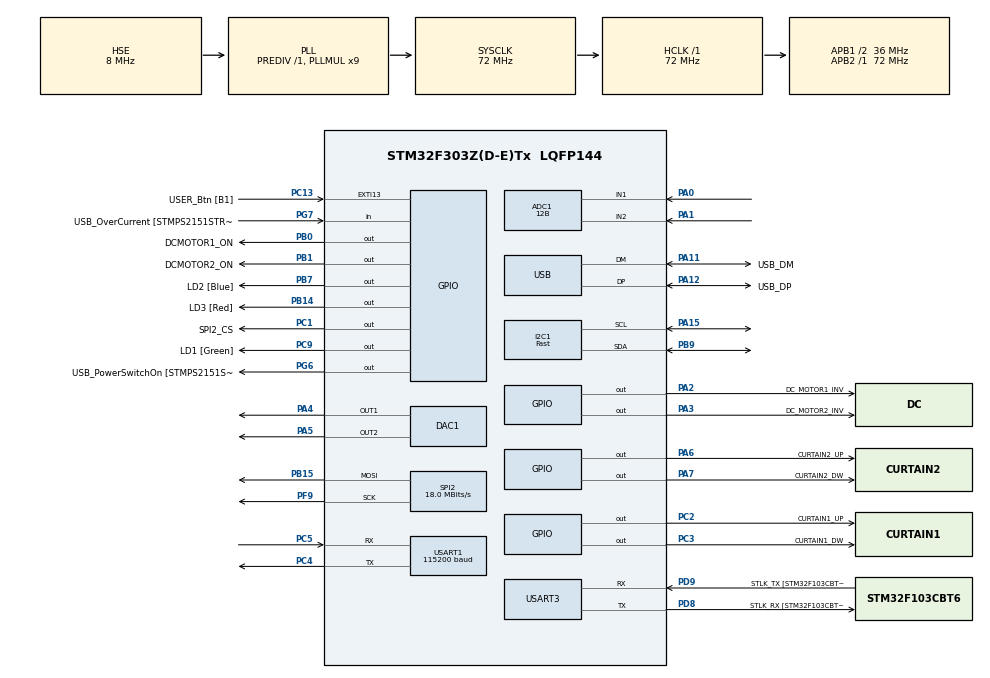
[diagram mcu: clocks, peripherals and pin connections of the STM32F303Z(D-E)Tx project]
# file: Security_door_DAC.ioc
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ADC1.Channel-0\#ChannelRegularConversion=ADC_CHANNEL_1
ADC1.Channel-1\#ChannelRegularConversion=ADC_CHANNEL_2
ADC1.ClockPrescaler=ADC_CLOCK_SYNC_PCLK_DIV2
ADC1.ContinuousConvMode=ENABLE
ADC1.DMAContinuousRequests=ENABLE
ADC1.DataAlign=ADC_DATAALIGN_RIGHT
ADC1.EOCSelection=ADC_EOC_SINGLE_CONV
ADC1.EnableInjectedConversion=DISABLE
ADC1.NbrOfConversion=2
ADC1.NbrOfConversionFlag=1
ADC1.Offset-0\#ChannelRegularConversion=0
ADC1.Offset-1\#ChannelRegularConversion=0
ADC1.OffsetNumber-0\#ChannelRegularConversion=ADC_OFFSET_NONE
ADC1.OffsetNumber-1\#ChannelRegularConversion=ADC_OFFSET_NONE
ADC1.Rank-0\#ChannelRegularConversion=1
ADC1.Rank-1\#ChannelRegularConversion=2
ADC1.Resolution=ADC_RESOLUTION_12B
ADC1.SamplingTime-0\#ChannelRegularConversion=ADC_SAMPLETIME_181CYCLES_5
ADC1.SamplingTime-1\#ChannelRegularConversion=ADC_SAMPLETIME_181CYCLES_5
ADC1.master=1
Dma.ADC1.2.Direction=DMA_PERIPH_TO_MEMORY
Dma.ADC1.2.Instance=DMA1_Channel1
Dma.ADC1.2.MemDataAlignment=DMA_MDATAALIGN_HALFWORD
Dma.ADC1.2.MemInc=DMA_MINC_ENABLE
Dma.ADC1.2.Mode=DMA_CIRCULAR
Dma.ADC1.2.PeriphDataAlignment=DMA_PDATAALIGN_HALFWORD
Dma.ADC1.2.PeriphInc=DMA_PINC_DISABLE
Dma.ADC1.2.Priority=DMA_PRIORITY_LOW
Dma.Request0=USART1_RX
Dma.Request1=USART1_TX
Dma.Request2=ADC1
Dma.USART1_RX.0.Direction=DMA_PERIPH_TO_MEMORY
Dma.USART1_RX.0.Instance=DMA1_Channel5
Dma.USART1_RX.0.MemDataAlignment=DMA_MDATAALIGN_BYTE
Dma.USART1_RX.0.MemInc=DMA_MINC_ENABLE
Dma.USART1_RX.0.Mode=DMA_NORMAL
Dma.USART1_RX.0.PeriphDataAlignment=DMA_PDATAALIGN_BYTE
Dma.USART1_RX.0.PeriphInc=DMA_PINC_DISABLE
Dma.USART1_RX.0.Priority=DMA_PRIORITY_LOW
Dma.USART1_TX.1.Direction=DMA_MEMORY_TO_PERIPH
Dma.USART1_TX.1.Instance=DMA1_Channel4
Dma.USART1_TX.1.MemDataAlignment=DMA_MDATAALIGN_BYTE
Dma.USART1_TX.1.MemInc=DMA_MINC_ENABLE
Dma.USART1_TX.1.Mode=DMA_NORMAL
Dma.USART1_TX.1.PeriphDataAlignment=DMA_PDATAALIGN_BYTE
Dma.USART1_TX.1.PeriphInc=DMA_PINC_DISABLE
Dma.USART1_TX.1.Priority=DMA_PRIORITY_LOW
I2C1.I2C_Speed_Mode=I2C_Fast
I2C1.Timing=0x0000020B
Mcu.Family=STM32F3
Mcu.Name=STM32F303Z(D-E)Tx
Mcu.Package=LQFP144
NVIC.DMA1_Channel1_IRQn=true\:0\:0\:false\:false\:true\:false\:true
NVIC.DMA1_Channel4_IRQn=true\:0\:0\:false\:false\:true\:false\:true
NVIC.DMA1_Channel5_IRQn=true\:0\:0\:false\:false\:true\:false\:true
NVIC.PriorityGroup=NVIC_PRIORITYGROUP_4
NVIC.TIM1_TRG_COM_TIM17_IRQn=true\:0\:0\:false\:false\:true\:true\:true
NVIC.TIM6_DAC_IRQn=true\:0\:0\:false\:false\:true\:true\:true
NVIC.TIM7_IRQn=true\:0\:0\:false\:false\:true\:true\:true
NVIC.USART1_IRQn=true\:0\:0\:false\:false\:true\:true\:true
NVIC.USB_LP_CAN_RX0_IRQn=true\:0\:0\:false\:false\:true\:true\:true
PA0.Mode=IN1-Single-Ended
PA0.Signal=ADC1_IN1
PA1.Mode=IN2-Single-Ended
PA1.Signal=ADC1_IN2
PA11.GPIO_Label=USB_DM
PA11.Mode=Device
PA11.Signal=USB_DM
PA12.GPIO_Label=USB_DP
PA12.Mode=Device
PA12.Signal=USB_DP
PA13.GPIO_Label=TMS
PA13.Mode=Serial_Wire
PA13.Signal=SYS_JTMS-SWDIO
PA14.GPIO_Label=TCK
PA14.Mode=Serial_Wire
PA14.Signal=SYS_JTCK-SWCLK
PA15.Mode=I2C
PA15.Signal=I2C1_SCL
PA2.GPIO_Label=DC_MOTOR1_INV
PA2.Signal=GPIO_Output
PA3.GPIO_Label=DC_MOTOR2_INV
PA3.Signal=GPIO_Output
PA4.Signal=COMP_DAC11_group
PA5.Signal=COMP_DAC12_group
PA6.GPIO_Label=CURTAIN2_UP
PA6.Signal=GPIO_Output
PA7.GPIO_Label=CURTAIN2_DW
PA7.Signal=GPIO_Output
PB0.GPIO_Label=DCMOTOR1_ON
PB0.Signal=GPIO_Output
PB1.GPIO_Label=DCMOTOR2_ON
PB1.Signal=GPIO_Output
PB14.GPIO_Label=LD3 [Red]
PB14.Signal=GPIO_Output
PB15.Mode=TX_Only_Simplex_Unidirect_Master
PB15.Signal=SPI2_MOSI
PB3.GPIO_Label=SWO
PB3.Signal=SYS_JTDO-TRACESWO
PB7.GPIO_Label=LD2 [Blue]
PB7.Signal=GPIO_Output
PB9.Mode=I2C
PB9.Signal=I2C1_SDA
PC1.GPIO_Label=SPI2_CS
PC1.Signal=GPIO_Output
PC13.GPIO_Label=USER_Btn [B1]
PC13.Signal=GPXTI13
PC14-OSC32_IN.Mode=LSE-External-Oscillator
PC14-OSC32_IN.Signal=RCC_OSC32_IN
PC15-OSC32_OUT.Mode=LSE-External-Oscillator
PC15-OSC32_OUT.Signal=RCC_OSC32_OUT
PC2.GPIO_Label=CURTAIN1_UP
PC2.Signal=GPIO_Output
PC3.GPIO_Label=CURTAIN1_DW
PC3.Signal=GPIO_Output
PC4.Mode=Asynchronous
PC4.Signal=USART1_TX
PC5.Mode=Asynchronous
PC5.Signal=USART1_RX
PC9.GPIO_Label=LD1 [Green]
PC9.Signal=GPIO_Output
PD8.GPIO_Label=STLK_RX [STM32F103CBT6_PA3]
PD8.Mode=Asynchronous
PD8.Signal=USART3_TX
PD9.GPIO_Label=STLK_TX [STM32F103CBT6_PA2]
PD9.Mode=Asynchronous
PD9.Signal=USART3_RX
PF0-OSC_IN.GPIO_Label=MCO [STM32F103CBT6_PA8]
PF0-OSC_IN.Mode=HSE-External-Clock-Source
PF0-OSC_IN.Signal=RCC_OSC_IN
PF9.Mode=TX_Only_Simplex_Unidirect_Master
PF9.Signal=SPI2_SCK
PG6.GPIO_Label=USB_PowerSwitchOn [STMPS2151STR_EN]
PG6.Signal=GPIO_Output
PG7.GPIO_Label=USB_OverCurrent [STMPS2151STR_FAULT]
PG7.Signal=GPIO_Input
ProjectManager.HeapSize=0x400
ProjectManager.StackSize=0x800
ProjectManager.TargetToolchain=SW4STM32
RCC.AHBFreq_Value=72000000
RCC.APB1CLKDivider=RCC_HCLK_DIV2
RCC.APB1Freq_Value=36000000
RCC.APB1TimFreq_Value=72000000
RCC.APB2Freq_Value=72000000
RCC.APB2TimFreq_Value=72000000
RCC.CortexFreq_Value=72000000
RCC.HCLKFreq_Value=72000000
RCC.HSE_VALUE=8000000
RCC.HSI_VALUE=8000000
RCC.PLLMUL=RCC_PLL_MUL9
RCC.PRESCALERUSB=RCC_USBCLKSOURCE_PLL_DIV1_5
RCC.SYSCLKFreq_VALUE=72000000
RCC.SYSCLKSourceVirtual=RCC_SYSCLKSOURCE_PLLCLK
RCC.USBFreq_Value=48000000
SH.COMP_DAC11_group.0=DAC1_OUT1,DAC_OUT1
SH.COMP_DAC12_group.0=DAC1_OUT2,Enable_DAC_OUT2
SPI2.BaudRatePrescaler=SPI_BAUDRATEPRESCALER_2
SPI2.CLKPhase=SPI_PHASE_2EDGE
SPI2.CLKPolarity=SPI_POLARITY_HIGH
SPI2.CalculateBaudRate=18.0 MBits/s
SPI2.DataSize=SPI_DATASIZE_8BIT
SPI2.Direction=SPI_DIRECTION_2LINES
SPI2.Mode=SPI_MODE_MASTER
SPI2.VirtualType=VM_MASTER
TIM17.Period=19999
TIM17.Prescaler=35999
TIM6.Period=19999
TIM6.Prescaler=35999
TIM7.Period=199
TIM7.Prescaler=17999
USART1.BaudRate=115200
USART1.VirtualMode-Asynchronous=VM_ASYNC
USART3.VirtualMode-Asynchronous=VM_ASYNC
VP_RTC_VS_RTC_Activate.Mode=RTC_Enabled
VP_TIM17_VS_ClockSourceINT.Mode=Enable_Timer
VP_TIM6_VS_ClockSourceINT.Mode=Enable_Timer
VP_TIM7_VS_ClockSourceINT.Mode=Enable_Timer
board=NUCLEO-F303ZE

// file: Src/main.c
/* USER CODE BEGIN Header */
/**
  ******************************************************************************
  * @file           : main.c
  * @brief          : Main program body
  ******************************************************************************
  * @attention
  *
  * <h2><center>&copy; Copyright (c) 2020 STMicroelectronics.
  * All rights reserved.</center></h2>
  *
  * This software component is licensed by ST under BSD 3-Clause license,
  * the "License"; You may not use this file except in compliance with the
  * License. You may obtain a copy of the License at:
  *                        opensource.org/licenses/BSD-3-Clause
  *
  ******************************************************************************
  */
/* USER CODE END Header */

#include "main.h"

/* USER CODE BEGIN PD */
#define MAX 65535
#define MIN 0
#define STABLE_ITERATIONS 40

#define RESPONSE_BYTES 2
#define ADC_RESOLUTION 4096

#define KEYPAD_READ_ADDR 0x41
#define KEYPAD_WRITE_ADDR 0x40
#define KEYPAD_GPIOA_ADDR 0x12

/* USER CODE END PD */

ADC_HandleTypeDef hadc1;
DMA_HandleTypeDef hdma_adc1;

DAC_HandleTypeDef hdac1;

I2C_HandleTypeDef hi2c1;

RTC_HandleTypeDef hrtc;

SPI_HandleTypeDef hspi2;

TIM_HandleTypeDef htim6;
TIM_HandleTypeDef htim7;
TIM_HandleTypeDef htim17;

UART_HandleTypeDef huart1;
UART_HandleTypeDef huart3;
DMA_HandleTypeDef hdma_usart1_rx;
DMA_HandleTypeDef hdma_usart1_tx;

PCD_HandleTypeDef hpcd_USB_FS;

/* USER CODE BEGIN PV */
extern uint8_t overflow_flag_tim17;
extern uint8_t overflow_flag_tim7;

float power_voltage = 3.3;
uint16_t ADC_buffer[4]={0xFFFF,0xFFFF,0xFFFF,0xFFFF};
uint16_t ADC_value[2]={0,0};
uint16_t distance[2]={0,0};
uint16_t DAC_value[2]={0,0};
int control_value[2]={0,0};
uint16_t motor_refference_prim[2]={1000,1000};//0-open, 1-closed
uint16_t motor_refference[2]={1000,1000};//0-open, 1000-closed
uint8_t curtain_lock[2]={1,1};//0-open, 1-closed
uint8_t curtain_motor[2]={1,1};//0-open, 1-closed
int error[2]={0,0};
int error_prim[5]={0,0};
float kP=1;
float kD=0.5;

uint8_t recieved[3]={0,0,0};
uint16_t com_password=0xFFFF;

uint32_t dac_write_command = 0x3;
uint32_t channel_write_ch_A = 0x0;
uint32_t channel_write_ch_B = 0x1;

uint16_t standby_password=1234;
uint16_t alarm_password=2345;
uint16_t night_password=3456;
uint8_t com_locked=1;
uint8_t door_status=1; //0-opened, 1- closed
uint8_t curtain_status[2]={2,2}; //0-opened, 1-closing, 2 - closed, 3 - opening
uint8_t controller_status[2]={0,0};
uint8_t door_lock=1;//0-open, 1-closed
uint8_t status=0;//0-standby, 1-alarm, 2-nightmode
/* USER CODE END PV */

void SystemClock_Config(void);
static void MX_GPIO_Init(void);
static void MX_DMA_Init(void);
static void MX_RTC_Init(void);
static void MX_USART1_UART_Init(void);
static void MX_USART3_UART_Init(void);
static void MX_USB_PCD_Init(void);
static void MX_ADC1_Init(void);
static void MX_I2C1_Init(void);
static void MX_SPI2_Init(void);
static void MX_TIM17_Init(void);
static void MX_TIM6_Init(void);
static void MX_TIM7_Init(void);
static void MX_DAC1_Init(void);
/* USER CODE BEGIN PFP */
void open_curtains(){
    if(curtain_status[0]!=0){
    	HAL_GPIO_WritePin(DCMOTOR1_ON_GPIO_Port,DCMOTOR1_ON_Pin,GPIO_PIN_SET);
        HAL_GPIO_WritePin(CURTAIN1_UP_GPIO_Port,CURTAIN1_UP_Pin,GPIO_PIN_RESET);
        HAL_GPIO_WritePin(CURTAIN1_DW_GPIO_Port,CURTAIN1_DW_Pin,GPIO_PIN_RESET);
        motor_refference[0]=0;
        curtain_status[0]=3;
        //printf("\n regulator for curtain 1 started");
        controller_status[0]=1;
        controller_status[1]=1;
        HAL_TIM_Base_Start_IT(&htim7);
    }
    if(curtain_status[1]!=0){
    	HAL_GPIO_WritePin(DCMOTOR2_ON_GPIO_Port,DCMOTOR2_ON_Pin,GPIO_PIN_SET);
        HAL_GPIO_WritePin(CURTAIN2_UP_GPIO_Port,CURTAIN2_UP_Pin,GPIO_PIN_RESET);
        HAL_GPIO_WritePin(CURTAIN2_DW_GPIO_Port,CURTAIN2_DW_Pin,GPIO_PIN_RESET);
        motor_refference[1]=0;
        curtain_status[1]=3;
        //printf("\n regulator for curtain 2 started");
        controller_status[0]=1;
        controller_status[1]=1;
        HAL_TIM_Base_Start_IT(&htim7);
    }
}
void open_door(){
	HAL_GPIO_WritePin(LD2_GPIO_Port,LD2_Pin,GPIO_PIN_SET);
	door_status=0;
	HAL_TIM_Base_Start_IT(&htim17);
};
void close_all(){
	HAL_GPIO_WritePin(LD2_GPIO_Port,LD2_Pin,GPIO_PIN_RESET);
    if(curtain_status[0]!=2){
    	HAL_GPIO_WritePin(DCMOTOR1_ON_GPIO_Port,DCMOTOR1_ON_Pin,GPIO_PIN_SET);
		HAL_GPIO_WritePin(CURTAIN1_UP_GPIO_Port,CURTAIN1_UP_Pin,GPIO_PIN_RESET);
		HAL_GPIO_WritePin(CURTAIN1_DW_GPIO_Port,CURTAIN1_DW_Pin,GPIO_PIN_RESET);
        motor_refference[0]=1000;
        curtain_status[0]=1;
        //printf("\n regulator for curtain 1 started");
        controller_status[0]=1;
		controller_status[1]=1;
        HAL_TIM_Base_Start_IT(&htim7);
    }
    if(curtain_status[1]!=2){
		HAL_GPIO_WritePin(DCMOTOR2_ON_GPIO_Port,DCMOTOR2_ON_Pin,GPIO_PIN_SET);
		HAL_GPIO_WritePin(CURTAIN2_UP_GPIO_Port,CURTAIN2_UP_Pin,GPIO_PIN_RESET);
		HAL_GPIO_WritePin(CURTAIN2_DW_GPIO_Port,CURTAIN2_DW_Pin,GPIO_PIN_RESET);
		motor_refference[1]=1000;
		curtain_status[1]=1;
		//printf("\n regulator for curtain 1 started");
		controller_status[0]=1;
		controller_status[1]=1;
		HAL_TIM_Base_Start_IT(&htim7);
	}
}
void turn_standby(){
	status=0;
	HAL_GPIO_WritePin(LD3_GPIO_Port,LD3_Pin,GPIO_PIN_RESET);
    open_curtains();
    //printf("\nSTANDBY ON\n");
}
void turn_alarm(){
	status=1;
	HAL_GPIO_WritePin(LD3_GPIO_Port,LD3_Pin,GPIO_PIN_SET);
    close_all();
    //printf("\nALARM ON\n");
}
void turn_nightmode(){
	status=2;
    close_all();
    //printf("\nNIGHTMODE ON\n");
}
uint8_t* buffer_fitting(uint32_t response){
	static uint8_t buffer[RESPONSE_BYTES];
	for(int i=0;i<RESPONSE_BYTES;i++){
		buffer[i]=(response>>((RESPONSE_BYTES-1-i)*8))&0xFF;
	}
	return buffer;
}
int COM_USART_recieve(){
    uint8_t msg_type;
    uint8_t msg_target;
    uint16_t msg_argument;
    static uint16_t response;
    uint8_t* send_buffer;
    msg_type=recieved[0]>>4;
    msg_target=recieved[0]&0x0F;
    msg_argument=recieved[1]<<8;
    msg_argument=msg_argument|recieved[2];
    /*printBits(sizeof(msg_type),&msg_type);
    printBits(sizeof(msg_target),&msg_target);
    printBits(sizeof(msg_argument),&msg_argument);*/
    if(msg_type==0&&msg_target==0&&com_locked==1){
        if(msg_argument==com_password)
        {
            com_locked=0;
            response=0;
            send_buffer=buffer_fitting(response);
            HAL_UART_Transmit_DMA(&huart1, send_buffer, 2);
            //printf("access granted:");
            //printBits(sizeof(response),&response);
            return 0;
        }else{
            com_locked=1;
            response=1;
            send_buffer=buffer_fitting(response);
			HAL_UART_Transmit_DMA(&huart1, send_buffer, 2);
            //printf("locked:");
            //printBits(sizeof(response),&response);
            return 0;
        }
    }
    if(com_locked==1){
        response=0xF1;
        send_buffer=buffer_fitting(response);
		HAL_UART_Transmit_DMA(&huart1, send_buffer, 2);
        //printf("access denied:");
        //printBits(sizeof(response),&response);
        return 1;
    }
    switch(msg_type){
    case 0://close com
    	com_locked=1;
        if(msg_target!=1){
            response=0x10;
            send_buffer=buffer_fitting(response);
			HAL_UART_Transmit_DMA(&huart1, send_buffer, 2);
            //printf("wrong target:");
            //printBits(sizeof(response),&response);
            return 1;
        }
        com_password=msg_argument;
        response=com_password;
        send_buffer=buffer_fitting(response);
		HAL_UART_Transmit_DMA(&huart1, send_buffer, 2);
        //printf("locked with password:");
        //printBits(sizeof(response),&response);
        return 0;
        break;
    case 1://Password Change
        if(msg_target==3){
            com_password=msg_argument;
            response=msg_argument;
            send_buffer=buffer_fitting(response);
			HAL_UART_Transmit_DMA(&huart1, send_buffer, 2);
            //printf("com password:");
            //printBits(sizeof(response),&response);
            return 0;
        }
        if(msg_argument>9999){
            response=0x20;
            send_buffer=buffer_fitting(response);
			HAL_UART_Transmit_DMA(&huart1, send_buffer, 2);
            //printf("wrong arg:");
            //printBits(sizeof(response),&response);
            return 1;
        }
        switch(msg_target){
        case 0:
            standby_password=msg_argument;
            response=msg_argument;
            send_buffer=buffer_fitting(response);
			HAL_UART_Transmit_DMA(&huart1, send_buffer, 2);
            //printf("sending back:");
            //printBits(sizeof(response),&response);
            return 0;
            break;
        case 1:
            night_password=msg_argument;
            response=msg_argument;
            send_buffer=buffer_fitting(response);
			HAL_UART_Transmit_DMA(&huart1, send_buffer, 2);
            //printf("sending back:");
            //printBits(sizeof(response),&response);
            return 0;
            break;
        case 2:
            alarm_password=msg_argument;
            response=msg_argument;
            send_buffer=buffer_fitting(response);
			HAL_UART_Transmit_DMA(&huart1, send_buffer, 2);
            //printf("sending back:");
            //printBits(sizeof(response),&response);
            return 0;
            break;
        default:
            response=0x10;
            send_buffer=buffer_fitting(response);
			HAL_UART_Transmit_DMA(&huart1, send_buffer, 2);
            //printf("wrong target:");
            //printBits(sizeof(response),&response);
            return 1;
            break;
        }
        break;
    case 2://Converter Values
        switch(msg_target){
        case 0:
            response=distance[0];
            send_buffer=buffer_fitting(response);
			HAL_UART_Transmit_DMA(&huart1, send_buffer, 2);
            //printf("ADC0:");
            //printBits(sizeof(response),&response);
            break;
        case 1:
            response=distance[1];
            send_buffer=buffer_fitting(response);
			HAL_UART_Transmit_DMA(&huart1, send_buffer, 2);
            //printf("ADC1:");
            //printBits(sizeof(response),&response);
            break;
        case 2:
            response=DAC_value[0];
            send_buffer=buffer_fitting(response);
			HAL_UART_Transmit_DMA(&huart1, send_buffer, 2);
            //printf("DAC0:");
            //printBits(sizeof(response),&response);
            break;
        case 3:
            response=DAC_value[1];
            send_buffer=buffer_fitting(response);
			HAL_UART_Transmit_DMA(&huart1, send_buffer, 2);
            //printf("DAC1:");
            //printBits(sizeof(response),&response);
            break;
        default:
            response=0x10;
            send_buffer=buffer_fitting(response);
			HAL_UART_Transmit_DMA(&huart1, send_buffer, 2);
            //printf("wrong target:");
            //printBits(sizeof(response),&response);
            return 1;
            break;
        }
        break;
    case 3://direct commands
        switch(msg_target){
        case 0:
            response=0x30;
            turn_standby();
            open_door();
            send_buffer=buffer_fitting(response);
			HAL_UART_Transmit_DMA(&huart1, send_buffer, 2);
            //printf("sending back:");
            //printBits(sizeof(response),&response);
            return 0;
            break;
        case 1:
            response=0x31;
            turn_standby();
            send_buffer=buffer_fitting(response);
			HAL_UART_Transmit_DMA(&huart1, send_buffer, 2);
            //printf("sending back:");
            //printBits(sizeof(response),&response);
            return 0;
            break;
        case 2:
            response=0x32;
            turn_alarm();
            send_buffer=buffer_fitting(response);
			HAL_UART_Transmit_DMA(&huart1, send_buffer, 2);
            //printf("sending back:");
            //printBits(sizeof(response),&response);
            return 0;
            break;
        default:
            response=0x10;
            send_buffer=buffer_fitting(response);
			HAL_UART_Transmit_DMA(&huart1, send_buffer, 2);
            //printf("wrong target:");
            //printBits(sizeof(response),&response);
            return 1;
            break;
        }
        break;
    default:
        response=0x00;
        send_buffer=buffer_fitting(response);
		HAL_UART_Transmit_DMA(&huart1, send_buffer, 2);
        //printf("wrong type:");
        //printBits(sizeof(response),&response);
        return 1;
        break;
    }
    return -1;
}
void HAL_ADC_ConvCpltCallback(ADC_HandleTypeDef* hadc){
	static uint16_t ADC_Value[2];
	ADC_Value[0]=ADC_buffer[0];
    ADC_Value[1]=ADC_buffer[1];
	for(uint8_t i=0; i<2; i++){
		distance[i] = ADC_Value[i]*2000/ADC_RESOLUTION-1;
	}
}
void HAL_UART_RxCpltCallback(UART_HandleTypeDef *huart) {
	if(huart==&huart1){
		COM_USART_recieve();
		HAL_UART_Receive_DMA(&huart1, recieved, 3);
	}
}
void HAL_TIM_PeriodElapsedCallback(TIM_HandleTypeDef *htim){
	if((htim->Instance==TIM17)&&(overflow_flag_tim17)){
		HAL_TIM_Base_Stop_IT(&htim17);
		htim17.Instance->CNT=0;
		overflow_flag_tim17=0;
		door_status=1;
		HAL_GPIO_WritePin(LD2_GPIO_Port,LD2_Pin,GPIO_PIN_RESET);
	}
	if((htim->Instance==TIM7)&&(overflow_flag_tim7)){
		static uint8_t DAC_SPI_send_buffer[4]={0,0,0,0};
		static uint8_t DAC_SPI_ans_buffer[4]={0,0,0,0};
		static int stable_counter[2]={0,0};
		//REGULATOR//
		for(int control_iterator=0;control_iterator<2;control_iterator++){
			error[control_iterator]=motor_refference[control_iterator]-distance[control_iterator];
			if(controller_status[control_iterator]==1){
				control_value[control_iterator]=kP*error[control_iterator]+kD*(error[control_iterator]-error_prim[control_iterator]);//PD, dc motor is already an integrating object, so no need for PID
				error_prim[control_iterator]=error[control_iterator];
				if(-1*(curtain_status[control_iterator]-2)*error[control_iterator]<20){
					stable_counter[control_iterator]++;
					if(stable_counter[control_iterator]>STABLE_ITERATIONS){
						stable_counter[control_iterator]=0;
						controller_status[control_iterator]=0;
						if(curtain_status[control_iterator]==1)
							curtain_status[control_iterator]=2; else
							curtain_status[control_iterator]=0;
						if(control_iterator==0){
							HAL_GPIO_WritePin(CURTAIN1_UP_GPIO_Port,CURTAIN1_UP_Pin,GPIO_PIN_SET);
							HAL_GPIO_WritePin(CURTAIN1_DW_GPIO_Port,CURTAIN1_DW_Pin,GPIO_PIN_SET);
							HAL_GPIO_WritePin(DCMOTOR1_ON_GPIO_Port,DCMOTOR1_ON_Pin,GPIO_PIN_RESET);
						}else{
							HAL_GPIO_WritePin(CURTAIN2_UP_GPIO_Port,CURTAIN2_UP_Pin,GPIO_PIN_SET);
							HAL_GPIO_WritePin(CURTAIN2_DW_GPIO_Port,CURTAIN2_DW_Pin,GPIO_PIN_SET);
							HAL_GPIO_WritePin(DCMOTOR2_ON_GPIO_Port,DCMOTOR2_ON_Pin,GPIO_PIN_RESET);
						}
					}
				}else
					stable_counter[control_iterator]=0;
			}
			if(control_value[control_iterator]>MAX)//kontrola_zmiany
				control_value[control_iterator]=MAX;
			if(control_value[control_iterator]<MIN){
				switch(control_iterator){
				case 0:
					HAL_GPIO_WritePin(DC_MOTOR1_INV_GPIO_Port,DC_MOTOR1_INV_Pin,GPIO_PIN_SET);
					break;
				case 1:
					HAL_GPIO_WritePin(DC_MOTOR2_INV_GPIO_Port,DC_MOTOR2_INV_Pin,GPIO_PIN_SET);
					break;
				}
			}else{
				switch(control_iterator){
				case 0:
					HAL_GPIO_WritePin(DC_MOTOR1_INV_GPIO_Port,DC_MOTOR1_INV_Pin,GPIO_PIN_RESET);
					break;
				case 1:
					HAL_GPIO_WritePin(DC_MOTOR2_INV_GPIO_Port,DC_MOTOR2_INV_Pin,GPIO_PIN_RESET);
					break;
				}
			}
			DAC_value[control_iterator]=abs(control_value[control_iterator]);
		}
		HAL_GPIO_WritePin(SPI2_CS_GPIO_Port,SPI2_CS_Pin,GPIO_PIN_RESET);
		DAC_SPI_send_buffer[3]=0x03;
		DAC_SPI_send_buffer[2]=(DAC_value[0]>>12)|0x00;
		DAC_SPI_send_buffer[1]=(DAC_value[0]&0x0FF0)>>4;
		DAC_SPI_send_buffer[0]=(DAC_value[0]&0x000F)<<4;
		HAL_SPI_TransmitReceive(&hspi2, DAC_SPI_send_buffer, DAC_SPI_ans_buffer, 4, HAL_MAX_DELAY);
		DAC_SPI_send_buffer[3]=0x03;
		DAC_SPI_send_buffer[2]=(DAC_value[1]>>12)|0x01;
		DAC_SPI_send_buffer[1]=(DAC_value[1]&0x0FF0)>>4;
		DAC_SPI_send_buffer[0]=(DAC_value[1]&0x000F)<<4;
		HAL_SPI_TransmitReceive(&hspi2, DAC_SPI_send_buffer, DAC_SPI_ans_buffer, 4, HAL_MAX_DELAY);
		HAL_GPIO_WritePin(SPI2_CS_GPIO_Port,SPI2_CS_Pin,GPIO_PIN_RESET);
		if(controller_status[0]==0&&controller_status[1]==0){
			HAL_TIM_Base_Stop_IT(&htim7);
			htim7.Instance->CNT=0;
		}
		overflow_flag_tim7=0;
	}
}
uint8_t keypad_scan(){
	uint8_t column_masks[3]={0x6F,0xAF, 0xCF};
	uint8_t keypad_buffer;
	static uint8_t keypad_map[4][3] ={
	 { 1,  2,  3},
	 { 4,  5,  6},
	 { 7,  8,  9},
	 {0xA, 0, 0xB}
	 };
	for(int i=0; i<3; i++){
		keypad_buffer=column_masks[i];
		HAL_I2C_Mem_Write(&hi2c1, KEYPAD_WRITE_ADDR, KEYPAD_GPIOA_ADDR, 1, &keypad_buffer, sizeof(keypad_buffer), HAL_MAX_DELAY);
		HAL_Delay(3);
		HAL_I2C_Mem_Read(&hi2c1, KEYPAD_READ_ADDR, KEYPAD_GPIOA_ADDR, 1, &keypad_buffer, 1, HAL_MAX_DELAY);
		keypad_buffer=keypad_buffer & 0x0F;
		switch(keypad_buffer){
		case 0x07: return keypad_map[0][i];
			break;
		case 0x0B: return keypad_map[1][i];
			break;
		case 0x0D: return keypad_map[2][i];
			break;
		case 0x0E: return keypad_map[3][i];
			break;
		default:
			break;
		}
	}
	return 0x0C;
}
/* USER CODE END PFP */

int main(void)
{
  /* USER CODE BEGIN 1 */
	uint32_t code=0;
	uint8_t retries=1;
	uint8_t button=0xC;
	uint8_t rank=0;
  /* USER CODE END 1 */

  /* MCU Configuration--------------------------------------------------------*/

  /* Reset of all peripherals, Initializes the Flash interface and the Systick. */
  HAL_Init();

  /* Configure the system clock */
  SystemClock_Config();

  /* Initialize all configured peripherals */
  MX_GPIO_Init();
  MX_DMA_Init();
  MX_RTC_Init();
  MX_USART1_UART_Init();
  MX_USART3_UART_Init();
  MX_USB_PCD_Init();
  MX_ADC1_Init();
  MX_I2C1_Init();
  MX_SPI2_Init();
  MX_TIM17_Init();
  MX_TIM6_Init();
  MX_TIM7_Init();
  MX_DAC1_Init();
  /* USER CODE BEGIN 2 */
  HAL_ADC_Start_DMA(&hadc1,ADC_buffer,2);
  HAL_ADC_Start_IT(&hadc1);
  HAL_UART_Receive_DMA(&huart1, recieved, 3);
  HAL_TIM_Base_Init(&htim17);//init timera
  HAL_TIM_Base_Init(&htim7);//init timera
  HAL_TIM_Base_Stop_IT(&htim7);
  HAL_TIM_Base_Stop_IT(&htim17);
  htim17.Instance->CNT=0;
  htim7.Instance->CNT=0;
  HAL_SPI_Init(&hspi2);
  HAL_I2C_Init(&hi2c1);
  HAL_GPIO_WritePin(LD2_GPIO_Port,LD2_Pin,GPIO_PIN_SET);
  HAL_Delay(50);
  HAL_GPIO_WritePin(LD2_GPIO_Port,LD2_Pin,GPIO_PIN_RESET);
  HAL_DAC_SetValue(&hdac1,DAC_CHANNEL_1,DAC_ALIGN_12B_R,0xFFFFFFFF);
  HAL_DAC_SetValue(&hdac1,DAC_CHANNEL_2,DAC_ALIGN_12B_R,0xFFFFFFFF-1);
  /* USER CODE END 2 */

  /* Infinite loop */
  /* USER CODE BEGIN WHILE */
  while (1)
  {
	  HAL_Delay(1000);
	  button=keypad_scan();
	  if(HAL_GPIO_ReadPin(USER_Btn_GPIO_Port,USER_Btn_Pin)){
	 		button=0;
			HAL_Delay(1000);
	  }else
		  button=0xC;
	  if(button!=0xC && door_status==1){
		  if(button>9){
			  rank=0;
			  code=0;
		  }else{
			  code=code+(button*(10^rank));
			  rank++;
		  }
		  if(rank==4){
			  switch(status){
			  case 0: //standby
				  if(code==standby_password){
					  open_door();
					  retries=0;
				  }else{
					  if(retries<2)
						  retries++; else{
						  turn_alarm();
						  retries=0;
					  }
				  }
				  break;
			  case 1: //alarm
				   if(code==alarm_password)
					   turn_standby();
				  break;
			  case 2: //nightmode
				  if(code==night_password){
					  turn_standby();
					  retries=0;
				  }else{
					  if(retries<2)
						  retries++; else{
						  turn_alarm();
						  retries=0;
					  }
				  }
				  break;
			  }
			  rank=0;
			  code=0;
		  }
	  }
    /* USER CODE END WHILE */

  }
}

void SystemClock_Config(void)
{
  RCC_OscInitTypeDef RCC_OscInitStruct = {0};
  RCC_ClkInitTypeDef RCC_ClkInitStruct = {0};
  RCC_PeriphCLKInitTypeDef PeriphClkInit = {0};

  /** Initializes the CPU, AHB and APB busses clocks
  */
  RCC_OscInitStruct.OscillatorType = RCC_OSCILLATORTYPE_HSI|RCC_OSCILLATORTYPE_LSI
                              |RCC_OSCILLATORTYPE_HSE;
  RCC_OscInitStruct.HSEState = RCC_HSE_BYPASS;
  RCC_OscInitStruct.HSIState = RCC_HSI_ON;
  RCC_OscInitStruct.HSICalibrationValue = RCC_HSICALIBRATION_DEFAULT;
  RCC_OscInitStruct.LSIState = RCC_LSI_ON;
  RCC_OscInitStruct.PLL.PLLState = RCC_PLL_ON;
  RCC_OscInitStruct.PLL.PLLSource = RCC_PLLSOURCE_HSE;
  RCC_OscInitStruct.PLL.PLLMUL = RCC_PLL_MUL9;
  RCC_OscInitStruct.PLL.PREDIV = RCC_PREDIV_DIV1;
  if (HAL_RCC_OscConfig(&RCC_OscInitStruct) != HAL_OK)
  {
    Error_Handler();
  }
  /** Initializes the CPU, AHB and APB busses clocks
  */
  RCC_ClkInitStruct.ClockType = RCC_CLOCKTYPE_HCLK|RCC_CLOCKTYPE_SYSCLK
                              |RCC_CLOCKTYPE_PCLK1|RCC_CLOCKTYPE_PCLK2;
  RCC_ClkInitStruct.SYSCLKSource = RCC_SYSCLKSOURCE_PLLCLK;
  RCC_ClkInitStruct.AHBCLKDivider = RCC_SYSCLK_DIV1;
  RCC_ClkInitStruct.APB1CLKDivider = RCC_HCLK_DIV2;
  RCC_ClkInitStruct.APB2CLKDivider = RCC_HCLK_DIV1;

  if (HAL_RCC_ClockConfig(&RCC_ClkInitStruct, FLASH_LATENCY_2) != HAL_OK)
  {
    Error_Handler();
  }
  PeriphClkInit.PeriphClockSelection = RCC_PERIPHCLK_USB|RCC_PERIPHCLK_USART1
                              |RCC_PERIPHCLK_USART3|RCC_PERIPHCLK_I2C1
                              |RCC_PERIPHCLK_RTC|RCC_PERIPHCLK_TIM17;
  PeriphClkInit.Usart1ClockSelection = RCC_USART1CLKSOURCE_PCLK2;
  PeriphClkInit.Usart3ClockSelection = RCC_USART3CLKSOURCE_PCLK1;
  PeriphClkInit.I2c1ClockSelection = RCC_I2C1CLKSOURCE_HSI;
  PeriphClkInit.RTCClockSelection = RCC_RTCCLKSOURCE_LSI;
  PeriphClkInit.USBClockSelection = RCC_USBCLKSOURCE_PLL_DIV1_5;
  PeriphClkInit.Tim17ClockSelection = RCC_TIM17CLK_HCLK;
  if (HAL_RCCEx_PeriphCLKConfig(&PeriphClkInit) != HAL_OK)
  {
    Error_Handler();
  }
}

static void MX_ADC1_Init(void)
{

  ADC_MultiModeTypeDef multimode = {0};
  ADC_ChannelConfTypeDef sConfig = {0};

  /** Common config
  */
  hadc1.Instance = ADC1;
  hadc1.Init.ClockPrescaler = ADC_CLOCK_SYNC_PCLK_DIV2;
  hadc1.Init.Resolution = ADC_RESOLUTION_12B;
  hadc1.Init.ScanConvMode = ADC_SCAN_ENABLE;
  hadc1.Init.ContinuousConvMode = ENABLE;
  hadc1.Init.DiscontinuousConvMode = DISABLE;
  hadc1.Init.ExternalTrigConvEdge = ADC_EXTERNALTRIGCONVEDGE_NONE;
  hadc1.Init.ExternalTrigConv = ADC_SOFTWARE_START;
  hadc1.Init.DataAlign = ADC_DATAALIGN_RIGHT;
  hadc1.Init.NbrOfConversion = 2;
  hadc1.Init.DMAContinuousRequests = ENABLE;
  hadc1.Init.EOCSelection = ADC_EOC_SINGLE_CONV;
  hadc1.Init.LowPowerAutoWait = DISABLE;
  hadc1.Init.Overrun = ADC_OVR_DATA_OVERWRITTEN;
  if (HAL_ADC_Init(&hadc1) != HAL_OK)
  {
    Error_Handler();
  }
  /** Configure the ADC multi-mode
  */
  multimode.Mode = ADC_MODE_INDEPENDENT;
  if (HAL_ADCEx_MultiModeConfigChannel(&hadc1, &multimode) != HAL_OK)
  {
    Error_Handler();
  }
  /** Configure Regular Channel
  */
  sConfig.Channel = ADC_CHANNEL_1;
  sConfig.Rank = ADC_REGULAR_RANK_1;
  sConfig.SingleDiff = ADC_SINGLE_ENDED;
  sConfig.SamplingTime = ADC_SAMPLETIME_181CYCLES_5;
  sConfig.OffsetNumber = ADC_OFFSET_NONE;
  sConfig.Offset = 0;
  if (HAL_ADC_ConfigChannel(&hadc1, &sConfig) != HAL_OK)
  {
    Error_Handler();
  }
  /** Configure Regular Channel
  */
  sConfig.Channel = ADC_CHANNEL_2;
  sConfig.Rank = ADC_REGULAR_RANK_2;
  if (HAL_ADC_ConfigChannel(&hadc1, &sConfig) != HAL_OK)
  {
    Error_Handler();
  }

}

static void MX_DAC1_Init(void)
{

  DAC_ChannelConfTypeDef sConfig = {0};

  /** DAC Initialization
  */
  hdac1.Instance = DAC1;
  if (HAL_DAC_Init(&hdac1) != HAL_OK)
  {
    Error_Handler();
  }
  /** DAC channel OUT1 config
  */
  sConfig.DAC_Trigger = DAC_TRIGGER_NONE;
  sConfig.DAC_OutputBuffer = DAC_OUTPUTBUFFER_ENABLE;
  if (HAL_DAC_ConfigChannel(&hdac1, &sConfig, DAC_CHANNEL_1) != HAL_OK)
  {
    Error_Handler();
  }
  /** DAC channel OUT2 config
  */
  if (HAL_DAC_ConfigChannel(&hdac1, &sConfig, DAC_CHANNEL_2) != HAL_OK)
  {
    Error_Handler();
  }

}

static void MX_I2C1_Init(void)
{

  hi2c1.Instance = I2C1;
  hi2c1.Init.Timing = 0x0000020B;
  hi2c1.Init.OwnAddress1 = 0;
  hi2c1.Init.AddressingMode = I2C_ADDRESSINGMODE_7BIT;
  hi2c1.Init.DualAddressMode = I2C_DUALADDRESS_DISABLE;
  hi2c1.Init.OwnAddress2 = 0;
  hi2c1.Init.OwnAddress2Masks = I2C_OA2_NOMASK;
  hi2c1.Init.GeneralCallMode = I2C_GENERALCALL_DISABLE;
  hi2c1.Init.NoStretchMode = I2C_NOSTRETCH_DISABLE;
  if (HAL_I2C_Init(&hi2c1) != HAL_OK)
  {
    Error_Handler();
  }
  /** Configure Analogue filter
  */
  if (HAL_I2CEx_ConfigAnalogFilter(&hi2c1, I2C_ANALOGFILTER_ENABLE) != HAL_OK)
  {
    Error_Handler();
  }
  /** Configure Digital filter
  */
  if (HAL_I2CEx_ConfigDigitalFilter(&hi2c1, 0) != HAL_OK)
  {
    Error_Handler();
  }

}

static void MX_RTC_Init(void)
{

  /** Initialize RTC Only
  */
  hrtc.Instance = RTC;
  hrtc.Init.HourFormat = RTC_HOURFORMAT_24;
  hrtc.Init.AsynchPrediv = 127;
  hrtc.Init.SynchPrediv = 255;
  hrtc.Init.OutPut = RTC_OUTPUT_DISABLE;
  hrtc.Init.OutPutPolarity = RTC_OUTPUT_POLARITY_HIGH;
  hrtc.Init.OutPutType = RTC_OUTPUT_TYPE_OPENDRAIN;
  if (HAL_RTC_Init(&hrtc) != HAL_OK)
  {
    Error_Handler();
  }

}

static void MX_SPI2_Init(void)
{

  /* SPI2 parameter configuration*/
  hspi2.Instance = SPI2;
  hspi2.Init.Mode = SPI_MODE_MASTER;
  hspi2.Init.Direction = SPI_DIRECTION_2LINES;
  hspi2.Init.DataSize = SPI_DATASIZE_8BIT;
  hspi2.Init.CLKPolarity = SPI_POLARITY_HIGH;
  hspi2.Init.CLKPhase = SPI_PHASE_2EDGE;
  hspi2.Init.NSS = SPI_NSS_SOFT;
  hspi2.Init.BaudRatePrescaler = SPI_BAUDRATEPRESCALER_2;
  hspi2.Init.FirstBit = SPI_FIRSTBIT_MSB;
  hspi2.Init.TIMode = SPI_TIMODE_DISABLE;
  hspi2.Init.CRCCalculation = SPI_CRCCALCULATION_DISABLE;
  hspi2.Init.CRCPolynomial = 7;
  hspi2.Init.CRCLength = SPI_CRC_LENGTH_DATASIZE;
  hspi2.Init.NSSPMode = SPI_NSS_PULSE_DISABLE;
  if (HAL_SPI_Init(&hspi2) != HAL_OK)
  {
    Error_Handler();
  }

}

static void MX_TIM6_Init(void)
{

  TIM_MasterConfigTypeDef sMasterConfig = {0};

  htim6.Instance = TIM6;
  htim6.Init.Prescaler = 35999;
  htim6.Init.CounterMode = TIM_COUNTERMODE_UP;
  htim6.Init.Period = 19999;
  htim6.Init.AutoReloadPreload = TIM_AUTORELOAD_PRELOAD_DISABLE;
  if (HAL_TIM_Base_Init(&htim6) != HAL_OK)
  {
    Error_Handler();
  }
  sMasterConfig.MasterOutputTrigger = TIM_TRGO_RESET;
  sMasterConfig.MasterSlaveMode = TIM_MASTERSLAVEMODE_DISABLE;
  if (HAL_TIMEx_MasterConfigSynchronization(&htim6, &sMasterConfig) != HAL_OK)
  {
    Error_Handler();
  }

}

static void MX_TIM7_Init(void)
{

  TIM_MasterConfigTypeDef sMasterConfig = {0};

  htim7.Instance = TIM7;
  htim7.Init.Prescaler = 17999;
  htim7.Init.CounterMode = TIM_COUNTERMODE_UP;
  htim7.Init.Period = 199;
  htim7.Init.AutoReloadPreload = TIM_AUTORELOAD_PRELOAD_DISABLE;
  if (HAL_TIM_Base_Init(&htim7) != HAL_OK)
  {
    Error_Handler();
  }
  sMasterConfig.MasterOutputTrigger = TIM_TRGO_RESET;
  sMasterConfig.MasterSlaveMode = TIM_MASTERSLAVEMODE_DISABLE;
  if (HAL_TIMEx_MasterConfigSynchronization(&htim7, &sMasterConfig) != HAL_OK)
  {
    Error_Handler();
  }

}

static void MX_TIM17_Init(void)
{

  htim17.Instance = TIM17;
  htim17.Init.Prescaler = 35999;
  htim17.Init.CounterMode = TIM_COUNTERMODE_UP;
  htim17.Init.Period = 19999;
  htim17.Init.ClockDivision = TIM_CLOCKDIVISION_DIV1;
  htim17.Init.RepetitionCounter = 0;
  htim17.Init.AutoReloadPreload = TIM_AUTORELOAD_PRELOAD_DISABLE;
  if (HAL_TIM_Base_Init(&htim17) != HAL_OK)
  {
    Error_Handler();
  }

}

static void MX_USART1_UART_Init(void)
{

  huart1.Instance = USART1;
  huart1.Init.BaudRate = 115200;
  huart1.Init.WordLength = UART_WORDLENGTH_8B;
  huart1.Init.StopBits = UART_STOPBITS_1;
  huart1.Init.Parity = UART_PARITY_NONE;
  huart1.Init.Mode = UART_MODE_TX_RX;
  huart1.Init.HwFlowCtl = UART_HWCONTROL_NONE;
  huart1.Init.OverSampling = UART_OVERSAMPLING_16;
  huart1.Init.OneBitSampling = UART_ONE_BIT_SAMPLE_DISABLE;
  huart1.AdvancedInit.AdvFeatureInit = UART_ADVFEATURE_NO_INIT;
  if (HAL_UART_Init(&huart1) != HAL_OK)
  {
    Error_Handler();
  }

}

static void MX_USART3_UART_Init(void)
{

  huart3.Instance = USART3;
  huart3.Init.BaudRate = 38400;
  huart3.Init.WordLength = UART_WORDLENGTH_8B;
  huart3.Init.StopBits = UART_STOPBITS_1;
  huart3.Init.Parity = UART_PARITY_NONE;
  huart3.Init.Mode = UART_MODE_TX_RX;
  huart3.Init.HwFlowCtl = UART_HWCONTROL_NONE;
  huart3.Init.OverSampling = UART_OVERSAMPLING_16;
  huart3.Init.OneBitSampling = UART_ONE_BIT_SAMPLE_DISABLE;
  huart3.AdvancedInit.AdvFeatureInit = UART_ADVFEATURE_NO_INIT;
  if (HAL_UART_Init(&huart3) != HAL_OK)
  {
    Error_Handler();
  }

}

static void MX_USB_PCD_Init(void)
{

  hpcd_USB_FS.Instance = USB;
  hpcd_USB_FS.Init.dev_endpoints = 8;
  hpcd_USB_FS.Init.speed = PCD_SPEED_FULL;
  hpcd_USB_FS.Init.phy_itface = PCD_PHY_EMBEDDED;
  hpcd_USB_FS.Init.low_power_enable = DISABLE;
  hpcd_USB_FS.Init.lpm_enable = DISABLE;
  hpcd_USB_FS.Init.battery_charging_enable = DISABLE;
  if (HAL_PCD_Init(&hpcd_USB_FS) != HAL_OK)
  {
    Error_Handler();
  }

}

static void MX_DMA_Init(void)
{

  /* DMA controller clock enable */
  __HAL_RCC_DMA1_CLK_ENABLE();

  /* DMA interrupt init */
  /* DMA1_Channel1_IRQn interrupt configuration */
  HAL_NVIC_SetPriority(DMA1_Channel1_IRQn, 0, 0);
  HAL_NVIC_EnableIRQ(DMA1_Channel1_IRQn);
  /* DMA1_Channel4_IRQn interrupt configuration */
  HAL_NVIC_SetPriority(DMA1_Channel4_IRQn, 0, 0);
  HAL_NVIC_EnableIRQ(DMA1_Channel4_IRQn);
  /* DMA1_Channel5_IRQn interrupt configuration */
  HAL_NVIC_SetPriority(DMA1_Channel5_IRQn, 0, 0);
  HAL_NVIC_EnableIRQ(DMA1_Channel5_IRQn);

}

static void MX_GPIO_Init(void)
{
  GPIO_InitTypeDef GPIO_InitStruct = {0};

  /* GPIO Ports Clock Enable */
  __HAL_RCC_GPIOC_CLK_ENABLE();
  __HAL_RCC_GPIOF_CLK_ENABLE();
  __HAL_RCC_GPIOA_CLK_ENABLE();
  __HAL_RCC_GPIOB_CLK_ENABLE();
  __HAL_RCC_GPIOD_CLK_ENABLE();
  __HAL_RCC_GPIOG_CLK_ENABLE();

  /*Configure GPIO pin Output Level */
  HAL_GPIO_WritePin(GPIOC, SPI2_CS_Pin|CURTAIN1_UP_Pin|CURTAIN1_DW_Pin|LD1_Pin, GPIO_PIN_RESET);

  /*Configure GPIO pin Output Level */
  HAL_GPIO_WritePin(GPIOA, DC_MOTOR1_INV_Pin|DC_MOTOR2_INV_Pin|CURTAIN2_UP_Pin|CURTAIN2_DW_Pin, GPIO_PIN_RESET);

  /*Configure GPIO pin Output Level */
  HAL_GPIO_WritePin(GPIOB, DCMOTOR1_ON_Pin|DCMOTOR2_ON_Pin|LD3_Pin|LD2_Pin, GPIO_PIN_RESET);

  /*Configure GPIO pin Output Level */
  HAL_GPIO_WritePin(USB_PowerSwitchOn_GPIO_Port, USB_PowerSwitchOn_Pin, GPIO_PIN_RESET);

  /*Configure GPIO pin : USER_Btn_Pin */
  GPIO_InitStruct.Pin = USER_Btn_Pin;
  GPIO_InitStruct.Mode = GPIO_MODE_IT_RISING;
  GPIO_InitStruct.Pull = GPIO_NOPULL;
  HAL_GPIO_Init(USER_Btn_GPIO_Port, &GPIO_InitStruct);

  /*Configure GPIO pins : SPI2_CS_Pin CURTAIN1_UP_Pin CURTAIN1_DW_Pin LD1_Pin */
  GPIO_InitStruct.Pin = SPI2_CS_Pin|CURTAIN1_UP_Pin|CURTAIN1_DW_Pin|LD1_Pin;
  GPIO_InitStruct.Mode = GPIO_MODE_OUTPUT_PP;
  GPIO_InitStruct.Pull = GPIO_NOPULL;
  GPIO_InitStruct.Speed = GPIO_SPEED_FREQ_LOW;
  HAL_GPIO_Init(GPIOC, &GPIO_InitStruct);

  /*Configure GPIO pins : DC_MOTOR1_INV_Pin DC_MOTOR2_INV_Pin CURTAIN2_UP_Pin CURTAIN2_DW_Pin */
  GPIO_InitStruct.Pin = DC_MOTOR1_INV_Pin|DC_MOTOR2_INV_Pin|CURTAIN2_UP_Pin|CURTAIN2_DW_Pin;
  GPIO_InitStruct.Mode = GPIO_MODE_OUTPUT_PP;
  GPIO_InitStruct.Pull = GPIO_NOPULL;
  GPIO_InitStruct.Speed = GPIO_SPEED_FREQ_LOW;
  HAL_GPIO_Init(GPIOA, &GPIO_InitStruct);

  /*Configure GPIO pins : DCMOTOR1_ON_Pin DCMOTOR2_ON_Pin LD3_Pin LD2_Pin */
  GPIO_InitStruct.Pin = DCMOTOR1_ON_Pin|DCMOTOR2_ON_Pin|LD3_Pin|LD2_Pin;
  GPIO_InitStruct.Mode = GPIO_MODE_OUTPUT_PP;
  GPIO_InitStruct.Pull = GPIO_NOPULL;
  GPIO_InitStruct.Speed = GPIO_SPEED_FREQ_LOW;
  HAL_GPIO_Init(GPIOB, &GPIO_InitStruct);

  /*Configure GPIO pin : USB_PowerSwitchOn_Pin */
  GPIO_InitStruct.Pin = USB_PowerSwitchOn_Pin;
  GPIO_InitStruct.Mode = GPIO_MODE_OUTPUT_PP;
  GPIO_InitStruct.Pull = GPIO_NOPULL;
  GPIO_InitStruct.Speed = GPIO_SPEED_FREQ_LOW;
  HAL_GPIO_Init(USB_PowerSwitchOn_GPIO_Port, &GPIO_InitStruct);

  /*Configure GPIO pin : USB_OverCurrent_Pin */
  GPIO_InitStruct.Pin = USB_OverCurrent_Pin;
  GPIO_InitStruct.Mode = GPIO_MODE_INPUT;
  GPIO_InitStruct.Pull = GPIO_NOPULL;
  HAL_GPIO_Init(USB_OverCurrent_GPIO_Port, &GPIO_InitStruct);

}

void Error_Handler(void)
{
}

/************************ (C) COPYRIGHT STMicroelectronics *****END OF FILE****/
